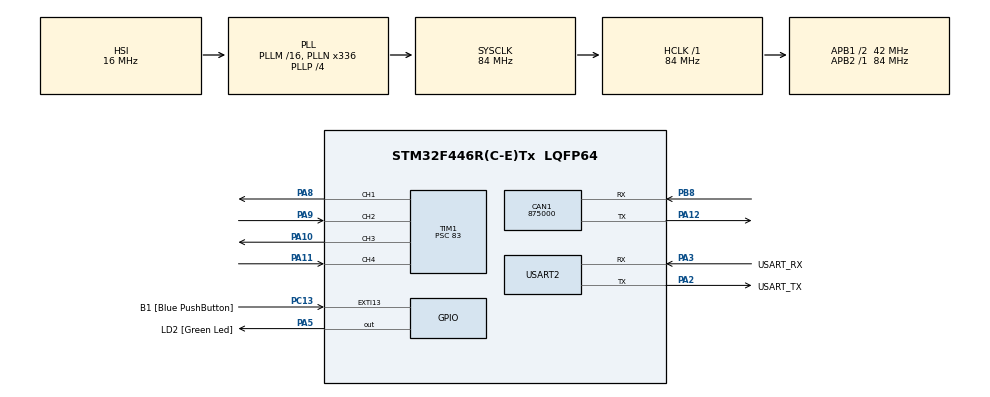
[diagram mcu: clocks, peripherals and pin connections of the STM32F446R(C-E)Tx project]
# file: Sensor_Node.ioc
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CAN1.CalculateBaudRate=875000
CAN1.CalculateTimeBit=1142
CAN1.CalculateTimeQuantum=380.95238095238096
Mcu.Family=STM32F4
Mcu.Name=STM32F446R(C-E)Tx
Mcu.Package=LQFP64
NVIC.PriorityGroup=NVIC_PRIORITYGROUP_0
NVIC.TIM1_CC_IRQn=true\:0\:0\:false\:false\:true\:true\:true\:true
PA10.Signal=S_TIM1_CH3
PA11.Signal=S_TIM1_CH4
PA12.Mode=CAN_Activate
PA12.Signal=CAN1_TX
PA13.GPIO_Label=TMS
PA13.Mode=Serial_Wire
PA13.Signal=SYS_JTMS-SWDIO
PA14.GPIO_Label=TCK
PA14.Mode=Serial_Wire
PA14.Signal=SYS_JTCK-SWCLK
PA2.GPIO_Label=USART_TX
PA2.Mode=Asynchronous
PA2.Signal=USART2_TX
PA3.GPIO_Label=USART_RX
PA3.Mode=Asynchronous
PA3.Signal=USART2_RX
PA5.GPIO_Label=LD2 [Green Led]
PA5.Signal=GPIO_Output
PA8.Signal=S_TIM1_CH1
PA9.Signal=S_TIM1_CH2
PB3.GPIO_Label=SWO
PB3.Signal=SYS_JTDO-SWO
PB8.Mode=CAN_Activate
PB8.Signal=CAN1_RX
PC13.GPIO_Label=B1 [Blue PushButton]
PC13.GPIO_ModeDefaultEXTI=GPIO_MODE_IT_FALLING
PC13.Signal=GPXTI13
PC14-OSC32_IN.Mode=LSE-External-Oscillator
PC14-OSC32_IN.Signal=RCC_OSC32_IN
PC15-OSC32_OUT.Mode=LSE-External-Oscillator
PC15-OSC32_OUT.Signal=RCC_OSC32_OUT
PH0-OSC_IN.Mode=HSE-External-Oscillator
PH0-OSC_IN.Signal=RCC_OSC_IN
PH1-OSC_OUT.Mode=HSE-External-Oscillator
PH1-OSC_OUT.Signal=RCC_OSC_OUT
ProjectManager.HeapSize=0x200
ProjectManager.StackSize=0x400
ProjectManager.TargetToolchain=STM32CubeIDE
RCC.48MHZClocksFreq_Value=84000000
RCC.AHBFreq_Value=84000000
RCC.APB1CLKDivider=RCC_HCLK_DIV2
RCC.APB1Freq_Value=42000000
RCC.APB1TimFreq_Value=84000000
RCC.APB2Freq_Value=84000000
RCC.APB2TimFreq_Value=84000000
RCC.CortexFreq_Value=84000000
RCC.FLatency-AdvancedSettings=FLASH_LATENCY_2
RCC.HCLKFreq_Value=84000000
RCC.HSE_VALUE=8000000
RCC.HSI_VALUE=16000000
RCC.PLLN=336
RCC.PLLP=RCC_PLLP_DIV4
RCC.SYSCLKFreq_VALUE=84000000
RCC.SYSCLKSource=RCC_SYSCLKSOURCE_PLLCLK
RCC.USBFreq_Value=168000000
RCC.VCOOutputFreq_Value=336000000
SH.S_TIM1_CH1.0=TIM1_CH1,Output Compare1 CH1
SH.S_TIM1_CH2.0=TIM1_CH2,Input_Capture2_from_TI2
SH.S_TIM1_CH3.0=TIM1_CH3,Output Compare3 CH3
SH.S_TIM1_CH4.0=TIM1_CH4,Input_Capture4_from_TI4
TIM1.Channel-Input_Capture2_from_TI2=TIM_CHANNEL_2
TIM1.Channel-Input_Capture4_from_TI4=TIM_CHANNEL_4
TIM1.Channel-Output\ Compare1\ CH1=TIM_CHANNEL_1
TIM1.Channel-Output\ Compare3\ CH3=TIM_CHANNEL_3
TIM1.Prescaler=83
USART2.VirtualMode=VM_ASYNC
board=NUCLEO-F446RE

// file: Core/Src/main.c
/* USER CODE BEGIN Header */
/**
  ******************************************************************************
  * @file           : main.c
  * @brief          : Main program body
  ******************************************************************************
  * @attention
  *
  * Copyright (c) 2026 STMicroelectronics.
  * All rights reserved.
  *
  * This software is licensed under terms that can be found in the LICENSE file
  * in the root directory of this software component.
  * If no LICENSE file comes with this software, it is provided AS-IS.
  *
  ******************************************************************************
  */
/* USER CODE END Header */
#include "main.h"
#include "can.h"
#include "tim.h"
#include "usart.h"
#include "gpio.h"

/* USER CODE BEGIN PD */
uint32_t ic1_rise, ic1_fall;
uint32_t ic2_rise, ic2_fall;

uint8_t echo1_state = 0;
uint8_t echo2_state = 0;

/* USER CODE END PD */

void SystemClock_Config(void);
/* USER CODE BEGIN PFP */
void TRIG1_Pulse(void)
{
    HAL_GPIO_WritePin(TRIG1_GPIO_Port, TRIG1_Pin, GPIO_PIN_SET);
    delay_us(10);
    HAL_GPIO_WritePin(TRIG1_GPIO_Port, TRIG1_Pin, GPIO_PIN_RESET);
}

/* USER CODE END PFP */

/* USER CODE BEGIN 0 */
void CAN_Send_Distance(uint8_t sensor_id, uint16_t distance) {
    CAN_TxHeaderTypeDef txHeader;
    uint8_t txData[8];
    uint32_t txMailbox;

    txHeader.StdId = 0x123; // 원하는 ID 설정
    txHeader.RTR = CAN_RTR_DATA;
    txHeader.IDE = CAN_ID_STD;
    txHeader.DLC = 3; // 1바이트(ID) + 2바이트(거리)
    txHeader.TransmitGlobalTime = DISABLE;

    txData[0] = sensor_id;
    txData[1] = (distance >> 8) & 0xFF; // 상위 바이트
    txData[2] = distance & 0xFF;        // 하위 바이트

    if (HAL_CAN_AddTxMessage(&hcan1, &txHeader, txData, &txMailbox) != HAL_OK) {
        // 전송 오류 처리
    }
}
/* USER CODE END 0 */

int main(void)
{

  /* MCU Configuration--------------------------------------------------------*/

  /* Reset of all peripherals, Initializes the Flash interface and the Systick. */
  HAL_Init();

  /* Configure the system clock */
  SystemClock_Config();

  /* Initialize all configured peripherals */
  MX_GPIO_Init();
  MX_USART2_UART_Init();
  MX_CAN1_Init();
  MX_TIM1_Init();
  /* USER CODE BEGIN 2 */
  HAL_TIM_IC_Start_IT(&htim1, TIM_CHANNEL_2);
  HAL_TIM_IC_Start_IT(&htim1, TIM_CHANNEL_4);

  /* USER CODE END 2 */

  /* Infinite loop */
  /* USER CODE BEGIN WHILE */
  while (1)
    {
      // 1. 센서 1 트리거 및 거리 계산
      TRIG1_Pulse();
      HAL_Delay(60); // 센서 간 간섭 방지를 위한 대기

      if (echo1_state == 2) {
          uint32_t diff1 = calc_diff(ic1_rise, ic1_fall);
          float distance1 = (diff1 * 0.034) / 2; // 타이머가 1MHz(1us)로 설정되었다는 가정 하에

          // CAN 전송 함수 호출 (아래 정의 필요)
          CAN_Send_Distance(1, (uint16_t)distance1);

          echo1_state = 0; // 상태 초기화
      }

      // 2. 센서 2 트리거 및 거리 계산
      HAL_Delay(100); // 전체 주기 조절
    }
  /* USER CODE END 3 */
}

void SystemClock_Config(void)
{
  RCC_OscInitTypeDef RCC_OscInitStruct = {0};
  RCC_ClkInitTypeDef RCC_ClkInitStruct = {0};

  /** Configure the main internal regulator output voltage
  */
  __HAL_RCC_PWR_CLK_ENABLE();
  __HAL_PWR_VOLTAGESCALING_CONFIG(PWR_REGULATOR_VOLTAGE_SCALE3);

  /** Initializes the RCC Oscillators according to the specified parameters
  * in the RCC_OscInitTypeDef structure.
  */
  RCC_OscInitStruct.OscillatorType = RCC_OSCILLATORTYPE_HSI;
  RCC_OscInitStruct.HSIState = RCC_HSI_ON;
  RCC_OscInitStruct.HSICalibrationValue = RCC_HSICALIBRATION_DEFAULT;
  RCC_OscInitStruct.PLL.PLLState = RCC_PLL_ON;
  RCC_OscInitStruct.PLL.PLLSource = RCC_PLLSOURCE_HSI;
  RCC_OscInitStruct.PLL.PLLM = 16;
  RCC_OscInitStruct.PLL.PLLN = 336;
  RCC_OscInitStruct.PLL.PLLP = RCC_PLLP_DIV4;
  RCC_OscInitStruct.PLL.PLLQ = 2;
  RCC_OscInitStruct.PLL.PLLR = 2;
  if (HAL_RCC_OscConfig(&RCC_OscInitStruct) != HAL_OK)
  {
    Error_Handler();
  }

  /** Initializes the CPU, AHB and APB buses clocks
  */
  RCC_ClkInitStruct.ClockType = RCC_CLOCKTYPE_HCLK|RCC_CLOCKTYPE_SYSCLK
                              |RCC_CLOCKTYPE_PCLK1|RCC_CLOCKTYPE_PCLK2;
  RCC_ClkInitStruct.SYSCLKSource = RCC_SYSCLKSOURCE_PLLCLK;
  RCC_ClkInitStruct.AHBCLKDivider = RCC_SYSCLK_DIV1;
  RCC_ClkInitStruct.APB1CLKDivider = RCC_HCLK_DIV2;
  RCC_ClkInitStruct.APB2CLKDivider = RCC_HCLK_DIV1;

  if (HAL_RCC_ClockConfig(&RCC_ClkInitStruct, FLASH_LATENCY_2) != HAL_OK)
  {
    Error_Handler();
  }
}

/* USER CODE BEGIN 4 */
void HAL_TIM_IC_CaptureCallback(TIM_HandleTypeDef *htim)
{
    if (htim->Instance != TIM1) return;

    /* Sensor 1 */
    if (htim->Channel == HAL_TIM_ACTIVE_CHANNEL_2)
    {
        if (echo1_state == 0)
        {
            ic1_rise = HAL_TIM_ReadCapturedValue(htim, TIM_CHANNEL_2);
            echo1_state = 1;
            __HAL_TIM_SET_CAPTUREPOLARITY(htim,
                TIM_CHANNEL_2, TIM_INPUTCHANNELPOLARITY_FALLING);
        }
        else
        {
            ic1_fall = HAL_TIM_ReadCapturedValue(htim, TIM_CHANNEL_2);
            echo1_state = 2;
            __HAL_TIM_SET_CAPTUREPOLARITY(htim,
                TIM_CHANNEL_2, TIM_INPUTCHANNELPOLARITY_RISING);
        }
    }

    /* Sensor 2 */
    if (htim->Channel == HAL_TIM_ACTIVE_CHANNEL_4)
    {
        if (echo2_state == 0)
        {
            ic2_rise = HAL_TIM_ReadCapturedValue(htim, TIM_CHANNEL_4);
            echo2_state = 1;
            __HAL_TIM_SET_CAPTUREPOLARITY(htim,
                TIM_CHANNEL_4, TIM_INPUTCHANNELPOLARITY_FALLING);
        }
        else
        {
            ic2_fall = HAL_TIM_ReadCapturedValue(htim, TIM_CHANNEL_4);
            echo2_state = 2;
            __HAL_TIM_SET_CAPTUREPOLARITY(htim,
                TIM_CHANNEL_4, TIM_INPUTCHANNELPOLARITY_RISING);
        }
    }
}

uint32_t calc_diff(uint32_t rise, uint32_t fall)
{
    if (fall >= rise) return fall - rise;
    return (0xFFFF - rise) + fall;
}

/* USER CODE END 4 */

void Error_Handler(void)
{
  __disable_irq();
  while (1)
  {
  }
}
